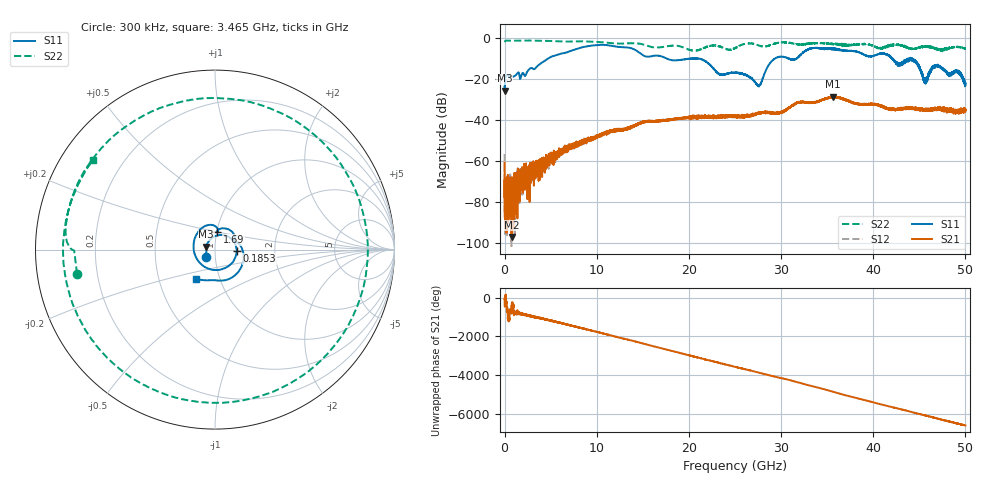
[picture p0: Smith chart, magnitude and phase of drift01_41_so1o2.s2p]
!Created with skrf (http://scikit-rf.org).
# Hz S RI R 50.0
!freq ReS11 ImS11 ReS21 ImS21 ReS12 ImS12 ReS22 ImS22
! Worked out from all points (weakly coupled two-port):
!   10001 points, 300 kHz to 50 GHz, reference 50 ohm
!   highest |S21| = -28.77 dB at 35.63 GHz (marker M1); lowest = -97.2 dB at 755.3 MHz (marker M2)
!   lowest |S11| = -25.8 dB at 5.3 MHz (marker M3), VSWR 1.11, Z = 45.3 + j1.43 ohm
!   |S11| at or under -10 dB: start of sweep to 4.765 GHz; 17.5 GHz to 29.4 GHz (11.9 GHz wide, 50.8 % of centre); 44.21 GHz to end of sweep (the widest 3 of 12)
!   |S22| runs from -6.6 to -1.4 dB; largest |S21 - S12| = 0.0042
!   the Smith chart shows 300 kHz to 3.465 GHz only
!   S11 on the Smith chart (normalised r, x): 300 kHz: 0.91, -0.08; 185.3 MHz: 1.27, -0.02; 1.69 GHz: 1.00, +0.20; 3.465 GHz: 0.77, -0.26
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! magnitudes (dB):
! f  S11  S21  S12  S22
! 300 kHz  -23.9  -61.0  -56.7  -2.2
! 5.3 MHz  -25.8  -73.7  -75.8  -2.1
! 185.3 MHz  -18.4  -71.3  -75.2  -1.4
! 755.3 MHz  -19.0  -97.2  -68.0  -1.5
! 1.69 GHz  -20.1  -65.0  -69.0  -1.4
! 3.465 GHz  -14.3  -65.1  -60.2  -1.5
! 8.335 GHz  -4.8  -51.1  -51.5  -1.8
! 16.67 GHz  -8.7  -40.7  -40.5  -4.8
! 21.18 GHz  -10.3  -38.9  -38.3  -5.8
! 25 GHz  -17.0  -38.8  -38.3  -5.1
! 27.59 GHz  -23.7  -36.6  -36.9  -3.9
! 29.28 GHz  -10.3  -36.8  -36.9  -2.8
! 31.45 GHz  -10.8  -32.3  -32.3  -3.0
! 33.34 GHz  -5.1  -31.6  -31.5  -2.7
! 35.63 GHz  -5.8  -28.8  -29.1  -3.1
! 41.67 GHz  -8.8  -34.7  -35.0  -4.3
! 42.74 GHz  -12.8  -35.0  -34.7  -3.3
! 44.41 GHz  -11.0  -34.2  -34.6  -5.4
! 45.64 GHz  -20.9  -35.3  -35.0  -4.4
! 46.88 GHz  -13.7  -34.6  -34.6  -5.4
! 49.26 GHz  -16.6  -35.3  -35.7  -4.6
! 50 GHz  -22.3  -35.3  -36.4  -5.4
